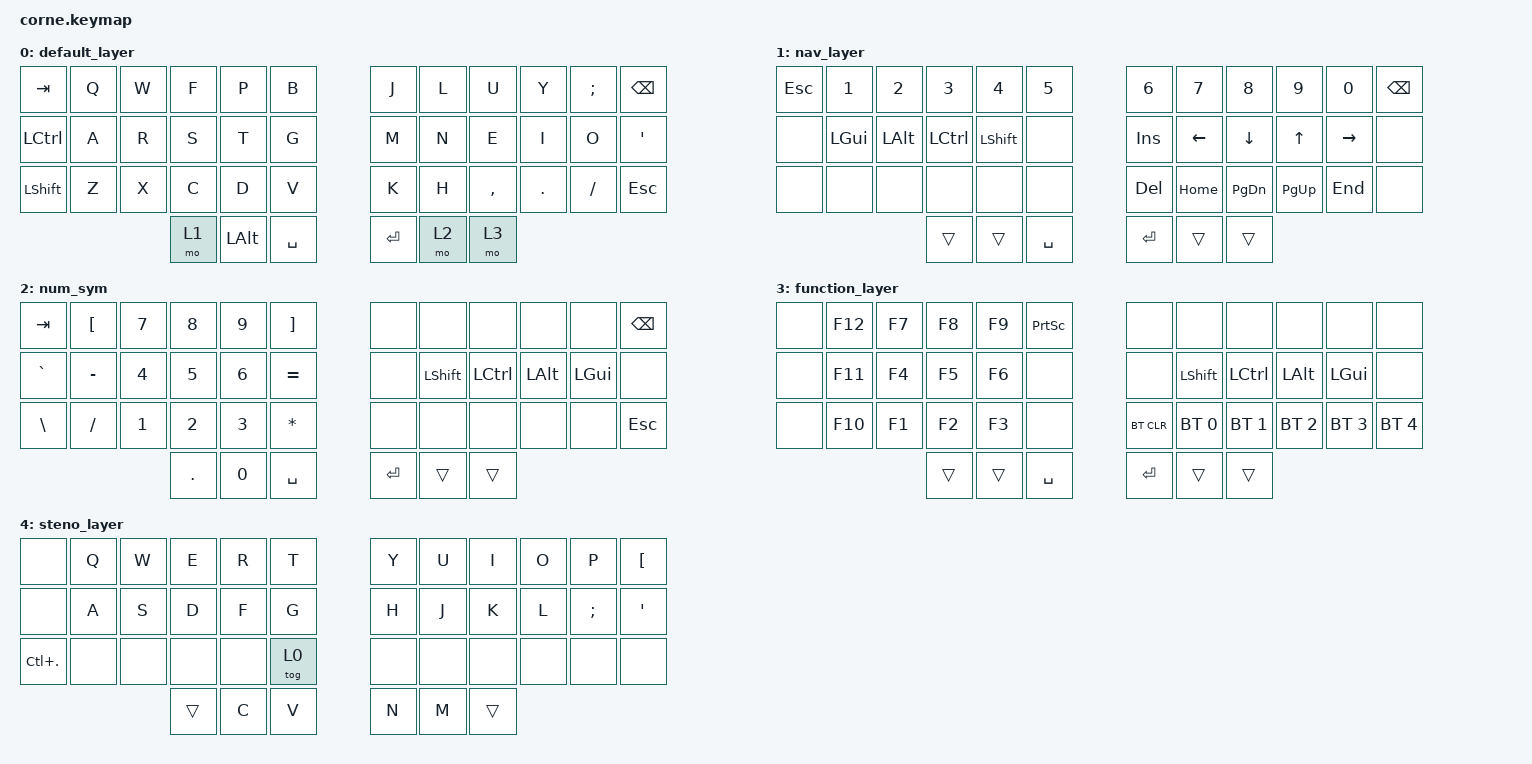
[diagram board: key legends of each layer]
/*
 * Copyright (c) 2020 The ZMK Contributors
 *
 * SPDX-License-Identifier: MIT
 */

#include <behaviors.dtsi>
#include <dt-bindings/zmk/bt.h>
#include <dt-bindings/zmk/keys.h>

/ {
    combos {
        compatible = "zmk,combos";

        steno {
            bindings = <&tog 4>;
            key-positions = <36 41>;
        };
    };

    keymap {
        compatible = "zmk,keymap";

        default_layer {
            // -----------------------------------------------------------------------------------------
            // |  TAB |  Q  |  W  |  E  |  R  |  T  |   |  Y  |  U   |  I  |  O  |  P  | BKSP |
            // | CTRL |  A  |  S  |  D  |  F  |  G  |   |  H  |  J   |  K  |  L  |  ;  |  '   |
            // | SHFT |  Z  |  X  |  C  |  V  |  B  |   |  N  |  M   |  ,  |  .  |  /  | ESC  |
            //                    | GUI | LWR | SPC |   | ENT | RSE  | ALT |

            bindings = <
&kp TAB    &kp Q  &kp W  &kp F  &kp P         &kp B        &kp J    &kp L  &kp U      &kp Y    &kp SEMI  &kp BSPC
&kp LCTRL  &kp A  &kp R  &kp S  &kp T         &kp G        &kp M    &kp N  &kp E      &kp I    &kp O     &kp SQT
&kp LSHFT  &kp Z  &kp X  &kp C  &kp D         &kp V        &kp K    &kp H  &kp COMMA  &kp DOT  &kp FSLH  &kp ESCAPE
                         &mo 1  &kp LEFT_ALT  &kp SPACE    &kp RET  &mo 2  &mo 3
            >;
        };

        nav_layer {
            // -----------------------------------------------------------------------------------------
            // |  TAB |  1  |  2  |  3  |  4  |  5  |   |  6  |  7  |  8  |  9  |  0  | BKSP |
            // | BTCLR| BT1 | BT2 | BT3 | BT4 | BT5 |   | LFT | DWN |  UP | RGT |     |      |
            // | SHFT |     |     |     |     |     |   |     |     |     |     |     |      |
            //                    | GUI |     | SPC |   | ENT |     | ALT |

            bindings = <
&kp ESCAPE  &kp NUMBER_1  &kp N2    &kp N3     &kp N4     &kp N5       &kp N6   &kp N7    &kp N8         &kp N9        &kp N0     &kp BSPC
&none       &kp LEFT_GUI  &kp LALT  &kp LCTRL  &kp LSHFT  &none        &kp INS  &kp LEFT  &kp DOWN       &kp UP_ARROW  &kp RIGHT  &none
&none       &none         &none     &none      &none      &none        &kp DEL  &kp HOME  &kp PAGE_DOWN  &kp PG_UP     &kp END    &none
                                    &trans     &trans     &kp SPACE    &kp RET  &trans    &trans
            >;
        };

        num_sym {
            bindings = <
&kp TAB        &kp LBKT   &kp N7  &kp N8      &kp N9  &kp RBKT        &none      &none      &none      &none     &none     &kp BACKSPACE
&kp GRAVE      &kp MINUS  &kp N4  &kp N5      &kp N6  &kp EQUAL       &none      &kp LSHFT  &kp LCTRL  &kp LALT  &kp LGUI  &none
&kp BACKSLASH  &kp SLASH  &kp N1  &kp N2      &kp N3  &kp ASTERISK    &none      &none      &none      &none     &none     &kp ESCAPE
                                  &kp PERIOD  &kp N0  &kp SPACE       &kp ENTER  &trans     &trans
            >;
        };

        function_layer {
            // -----------------------------------------------------------------------------------------
            // |  TAB |  !  |  @  |  #  |  $  |  %  |   |  ^  |  &  |  *  |  (  |  )  | BKSP |
            // | CTRL |     |     |     |     |     |   |  -  |  =  |  [  |  ]  |  \  |  `   |
            // | SHFT |     |     |     |     |     |   |  _  |  +  |  {  |  }  | "|" |  ~   |
            //                    | GUI |     | SPC |   | ENT |     | ALT |

            bindings = <
&none  &kp F12  &kp F7  &kp F8  &kp F9  &kp PRINTSCREEN    &none       &none         &none         &none         &none         &none
&none  &kp F11  &kp F4  &kp F5  &kp F6  &none              &none       &kp LSHFT     &kp LCTRL     &kp LALT      &kp LGUI      &none
&none  &kp F10  &kp F1  &kp F2  &kp F3  &none              &bt BT_CLR  &bt BT_SEL 0  &bt BT_SEL 1  &bt BT_SEL 2  &bt BT_SEL 3  &bt BT_SEL 4
                        &trans  &trans  &kp SPACE          &kp RET     &trans        &trans
            >;
        };

        steno_layer {
            bindings = <
&none           &kp Q  &kp W  &kp E   &kp R  &kp T     &kp Y  &kp U  &kp I   &kp O  &kp P     &kp LBKT
&none           &kp A  &kp S  &kp D   &kp F  &kp G     &kp H  &kp J  &kp K   &kp L  &kp SEMI  &kp APOS
&kp LC(PERIOD)  &none  &none  &none   &none  &tog 0    &none  &none  &none   &none  &none     &none
                              &trans  &kp C  &kp V     &kp N  &kp M  &trans
            >;
        };
    };
};
